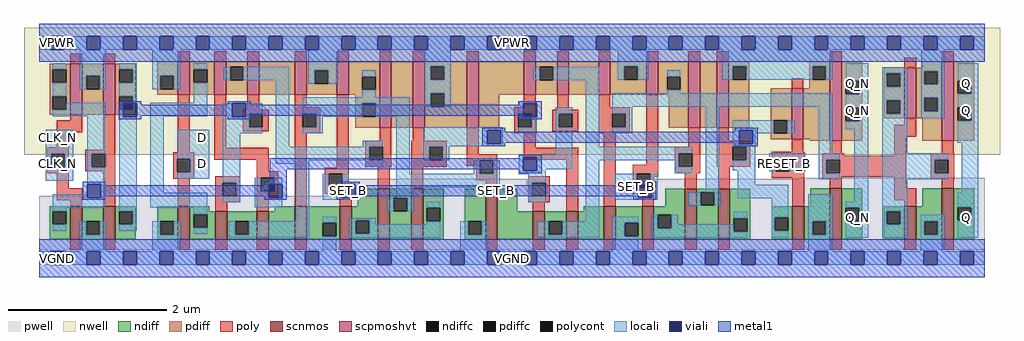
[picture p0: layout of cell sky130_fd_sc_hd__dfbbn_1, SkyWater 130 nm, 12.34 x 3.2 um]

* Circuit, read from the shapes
.subckt sky130_fd_sc_hd__dfbbn_1 CLK_N D RESET_B SET_B VGND VNB VPB VPWR Q Q_N
XM1 VGND CLK_N n1 VNB sky130_fd_pr__nfet_01v8 w=0.42 l=0.15
XM2 n2 n1 VGND VNB sky130_fd_pr__nfet_01v8 w=0.42 l=0.15
XM3 n3 D VGND VNB sky130_fd_pr__nfet_01v8 w=0.42 l=0.15
XM4 n4 n2 n3 VNB sky130_fd_pr__nfet_01v8 w=0.36 l=0.15
XM5 n5 n1 n4 VNB sky130_fd_pr__nfet_01v8 w=0.36 l=0.15
XM6 VGND n6 n5 VNB sky130_fd_pr__nfet_01v8 w=0.42 l=0.15
XM7 n7 SET_B VGND VNB sky130_fd_pr__nfet_01v8 w=0.42 l=0.15
XM8 n6 n4 n7 VNB sky130_fd_pr__nfet_01v8 w=0.64 l=0.15
XM9 n7 n8 n6 VNB sky130_fd_pr__nfet_01v8 w=0.64 l=0.15
XM10 n9 n6 VGND VNB sky130_fd_pr__nfet_01v8 w=0.64 l=0.15
XM11 n10 n1 n9 VNB sky130_fd_pr__nfet_01v8 w=0.36 l=0.15
XM12 n11 n2 n10 VNB sky130_fd_pr__nfet_01v8 w=0.36 l=0.15
XM13 VGND n12 n11 VNB sky130_fd_pr__nfet_01v8 w=0.42 l=0.15
XM14 n13 SET_B VGND VNB sky130_fd_pr__nfet_01v8 w=0.42 l=0.15
XM15 n12 n10 n13 VNB sky130_fd_pr__nfet_01v8 w=0.64 l=0.15
XM16 n13 n8 n12 VNB sky130_fd_pr__nfet_01v8 w=0.64 l=0.15
XM17 VGND RESET_B n8 VNB sky130_fd_pr__nfet_01v8 w=0.42 l=0.15
XM18 Q_N n12 VGND VNB sky130_fd_pr__nfet_01v8 w=0.65 l=0.15
XM19 VGND n12 n14 VNB sky130_fd_pr__nfet_01v8 w=0.42 l=0.15
XM20 Q n14 VGND VNB sky130_fd_pr__nfet_01v8 w=0.65 l=0.15
XM21 VPWR CLK_N n1 VPB sky130_fd_pr__pfet_01v8_hvt w=0.64 l=0.15
XM22 n2 n1 VPWR VPB sky130_fd_pr__pfet_01v8_hvt w=0.64 l=0.15
XM23 n3 D VPWR VPB sky130_fd_pr__pfet_01v8_hvt w=0.42 l=0.15
XM24 n4 n1 n3 VPB sky130_fd_pr__pfet_01v8_hvt w=0.42 l=0.15
XM25 n15 n2 n4 VPB sky130_fd_pr__pfet_01v8_hvt w=0.42 l=0.15
XM26 VPWR n6 n15 VPB sky130_fd_pr__pfet_01v8_hvt w=0.42 l=0.15
XM27 n6 SET_B VPWR VPB sky130_fd_pr__pfet_01v8_hvt w=0.42 l=0.15
XM28 n16 n4 n6 VPB sky130_fd_pr__pfet_01v8_hvt w=0.84 l=0.15
XM29 VPWR n8 n16 VPB sky130_fd_pr__pfet_01v8_hvt w=0.84 l=0.15
XM30 n17 n6 VPWR VPB sky130_fd_pr__pfet_01v8_hvt w=0.84 l=0.15
XM31 n10 n2 n17 VPB sky130_fd_pr__pfet_01v8_hvt w=0.42 l=0.15
XM32 n18 n1 n10 VPB sky130_fd_pr__pfet_01v8_hvt w=0.42 l=0.15
XM33 VPWR n12 n18 VPB sky130_fd_pr__pfet_01v8_hvt w=0.42 l=0.15
XM34 n12 SET_B VPWR VPB sky130_fd_pr__pfet_01v8_hvt w=0.42 l=0.15
XM35 n19 n10 n12 VPB sky130_fd_pr__pfet_01v8_hvt w=0.84 l=0.15
XM36 VPWR n8 n19 VPB sky130_fd_pr__pfet_01v8_hvt w=0.84 l=0.15
XM37 VPWR RESET_B n8 VPB sky130_fd_pr__pfet_01v8_hvt w=0.64 l=0.15
XM38 Q_N n12 VPWR VPB sky130_fd_pr__pfet_01v8_hvt w=1 l=0.15
XM39 VPWR n12 n14 VPB sky130_fd_pr__pfet_01v8_hvt w=0.64 l=0.15
XM40 Q n14 VPWR VPB sky130_fd_pr__pfet_01v8_hvt w=1 l=0.15
.ends

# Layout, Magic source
magic
tech sky130A
magscale 1 2
<< nwell >>
rect -38 261 2430 582
<< pwell >>
rect 1924 201 2391 203
rect 780 157 1235 201
rect 1557 157 2391 201
rect 1 21 2391 157
rect 29 -17 63 21
<< scnmos >>
rect 79 47 109 131
rect 163 47 193 131
rect 351 47 381 131
rect 446 47 476 119
rect 551 47 581 119
rect 647 47 677 131
rect 761 47 791 131
rect 857 47 887 175
rect 941 47 971 175
rect 1129 47 1159 175
rect 1249 47 1279 119
rect 1333 47 1363 119
rect 1428 47 1458 131
rect 1525 47 1555 131
rect 1633 47 1663 175
rect 1717 47 1747 175
rect 1905 47 1935 131
rect 2000 47 2030 177
rect 2188 47 2218 131
rect 2283 47 2313 177
<< scpmoshvt >>
rect 79 363 109 491
rect 163 363 193 491
rect 351 413 381 497
rect 443 413 473 497
rect 527 413 557 497
rect 647 413 677 497
rect 753 413 783 497
rect 861 329 891 497
rect 945 329 975 497
rect 1082 329 1112 497
rect 1226 413 1256 497
rect 1310 413 1340 497
rect 1415 413 1445 497
rect 1536 413 1566 497
rect 1642 329 1672 497
rect 1714 329 1744 497
rect 1903 301 1933 429
rect 2000 297 2030 497
rect 2188 353 2218 481
rect 2283 297 2313 497
<< ndiff >>
rect 27 119 79 131
rect 27 85 35 119
rect 69 85 79 119
rect 27 47 79 85
rect 109 93 163 131
rect 109 59 119 93
rect 153 59 163 93
rect 109 47 163 59
rect 193 119 245 131
rect 193 85 203 119
rect 237 85 245 119
rect 193 47 245 85
rect 299 93 351 131
rect 299 59 307 93
rect 341 59 351 93
rect 299 47 351 59
rect 381 119 431 131
rect 806 131 857 175
rect 596 119 647 131
rect 381 111 446 119
rect 381 77 391 111
rect 425 77 446 111
rect 381 47 446 77
rect 476 93 551 119
rect 476 59 496 93
rect 530 59 551 93
rect 476 47 551 59
rect 581 47 647 119
rect 677 89 761 131
rect 677 55 717 89
rect 751 55 761 89
rect 677 47 761 55
rect 791 95 857 131
rect 791 61 801 95
rect 835 61 857 95
rect 791 47 857 61
rect 887 153 941 175
rect 887 119 897 153
rect 931 119 941 153
rect 887 47 941 119
rect 971 127 1023 175
rect 971 93 981 127
rect 1015 93 1023 127
rect 971 47 1023 93
rect 1077 93 1129 175
rect 1077 59 1085 93
rect 1119 59 1129 93
rect 1077 47 1129 59
rect 1159 119 1209 175
rect 1583 131 1633 175
rect 1378 119 1428 131
rect 1159 47 1249 119
rect 1279 93 1333 119
rect 1279 59 1289 93
rect 1323 59 1333 93
rect 1279 47 1333 59
rect 1363 47 1428 119
rect 1458 89 1525 131
rect 1458 55 1481 89
rect 1515 55 1525 89
rect 1458 47 1525 55
rect 1555 109 1633 131
rect 1555 75 1565 109
rect 1599 75 1633 109
rect 1555 47 1633 75
rect 1663 167 1717 175
rect 1663 133 1673 167
rect 1707 133 1717 167
rect 1663 47 1717 133
rect 1747 101 1799 175
rect 1950 131 2000 177
rect 1747 67 1757 101
rect 1791 67 1799 101
rect 1747 47 1799 67
rect 1853 103 1905 131
rect 1853 69 1861 103
rect 1895 69 1905 103
rect 1853 47 1905 69
rect 1935 93 2000 131
rect 1935 59 1956 93
rect 1990 59 2000 93
rect 1935 47 2000 59
rect 2030 127 2082 177
rect 2233 131 2283 177
rect 2030 93 2040 127
rect 2074 93 2082 127
rect 2030 47 2082 93
rect 2136 119 2188 131
rect 2136 85 2144 119
rect 2178 85 2188 119
rect 2136 47 2188 85
rect 2218 93 2283 131
rect 2218 59 2239 93
rect 2273 59 2283 93
rect 2218 47 2283 59
rect 2313 129 2365 177
rect 2313 95 2323 129
rect 2357 95 2365 129
rect 2313 47 2365 95
<< pdiff >>
rect 27 477 79 491
rect 27 443 35 477
rect 69 443 79 477
rect 27 409 79 443
rect 27 375 35 409
rect 69 375 79 409
rect 27 363 79 375
rect 109 461 163 491
rect 109 427 119 461
rect 153 427 163 461
rect 109 363 163 427
rect 193 477 245 491
rect 193 443 203 477
rect 237 443 245 477
rect 193 409 245 443
rect 299 461 351 497
rect 299 427 307 461
rect 341 427 351 461
rect 299 413 351 427
rect 381 477 443 497
rect 381 443 391 477
rect 425 443 443 477
rect 381 413 443 443
rect 473 484 527 497
rect 473 450 483 484
rect 517 450 527 484
rect 473 413 527 450
rect 557 413 647 497
rect 677 475 753 497
rect 677 441 697 475
rect 731 441 753 475
rect 677 413 753 441
rect 783 459 861 497
rect 783 425 817 459
rect 851 425 861 459
rect 783 413 861 425
rect 193 375 203 409
rect 237 375 245 409
rect 193 363 245 375
rect 799 391 861 413
rect 799 357 817 391
rect 851 357 861 391
rect 799 329 861 357
rect 891 329 945 497
rect 975 485 1082 497
rect 975 451 991 485
rect 1025 451 1082 485
rect 975 417 1082 451
rect 975 383 991 417
rect 1025 383 1082 417
rect 975 329 1082 383
rect 1112 413 1226 497
rect 1256 484 1310 497
rect 1256 450 1266 484
rect 1300 450 1310 484
rect 1256 413 1310 450
rect 1340 413 1415 497
rect 1445 485 1536 497
rect 1445 451 1480 485
rect 1514 451 1536 485
rect 1445 413 1536 451
rect 1566 459 1642 497
rect 1566 425 1588 459
rect 1622 425 1642 459
rect 1566 413 1642 425
rect 1112 329 1164 413
rect 1592 329 1642 413
rect 1672 329 1714 497
rect 1744 485 1796 497
rect 1744 451 1754 485
rect 1788 451 1796 485
rect 1948 485 2000 497
rect 1744 329 1796 451
rect 1948 451 1956 485
rect 1990 451 2000 485
rect 1948 429 2000 451
rect 1850 349 1903 429
rect 1850 315 1858 349
rect 1892 315 1903 349
rect 1850 301 1903 315
rect 1933 301 2000 429
rect 1950 297 2000 301
rect 2030 448 2082 497
rect 2233 481 2283 497
rect 2030 414 2040 448
rect 2074 414 2082 448
rect 2030 380 2082 414
rect 2030 346 2040 380
rect 2074 346 2082 380
rect 2136 467 2188 481
rect 2136 433 2144 467
rect 2178 433 2188 467
rect 2136 399 2188 433
rect 2136 365 2144 399
rect 2178 365 2188 399
rect 2136 353 2188 365
rect 2218 473 2283 481
rect 2218 439 2239 473
rect 2273 439 2283 473
rect 2218 405 2283 439
rect 2218 371 2239 405
rect 2273 371 2283 405
rect 2218 353 2283 371
rect 2030 297 2082 346
rect 2233 297 2283 353
rect 2313 449 2365 497
rect 2313 415 2323 449
rect 2357 415 2365 449
rect 2313 381 2365 415
rect 2313 347 2323 381
rect 2357 347 2365 381
rect 2313 297 2365 347
<< ndiffc >>
rect 35 85 69 119
rect 119 59 153 93
rect 203 85 237 119
rect 307 59 341 93
rect 391 77 425 111
rect 496 59 530 93
rect 717 55 751 89
rect 801 61 835 95
rect 897 119 931 153
rect 981 93 1015 127
rect 1085 59 1119 93
rect 1289 59 1323 93
rect 1481 55 1515 89
rect 1565 75 1599 109
rect 1673 133 1707 167
rect 1757 67 1791 101
rect 1861 69 1895 103
rect 1956 59 1990 93
rect 2040 93 2074 127
rect 2144 85 2178 119
rect 2239 59 2273 93
rect 2323 95 2357 129
<< pdiffc >>
rect 35 443 69 477
rect 35 375 69 409
rect 119 427 153 461
rect 203 443 237 477
rect 307 427 341 461
rect 391 443 425 477
rect 483 450 517 484
rect 697 441 731 475
rect 817 425 851 459
rect 203 375 237 409
rect 817 357 851 391
rect 991 451 1025 485
rect 991 383 1025 417
rect 1266 450 1300 484
rect 1480 451 1514 485
rect 1588 425 1622 459
rect 1754 451 1788 485
rect 1956 451 1990 485
rect 1858 315 1892 349
rect 2040 414 2074 448
rect 2040 346 2074 380
rect 2144 433 2178 467
rect 2144 365 2178 399
rect 2239 439 2273 473
rect 2239 371 2273 405
rect 2323 415 2357 449
rect 2323 347 2357 381
<< poly >>
rect 79 491 109 517
rect 163 491 193 517
rect 351 497 381 523
rect 443 497 473 523
rect 527 497 557 523
rect 647 497 677 523
rect 753 497 783 523
rect 861 497 891 523
rect 945 497 975 523
rect 1082 497 1112 523
rect 1226 497 1256 523
rect 1310 497 1340 523
rect 1415 497 1445 523
rect 1536 497 1566 523
rect 1642 497 1672 523
rect 1714 497 1744 523
rect 2000 497 2030 523
rect 79 348 109 363
rect 45 318 109 348
rect 45 280 75 318
rect 21 264 75 280
rect 163 274 193 363
rect 21 230 31 264
rect 65 230 75 264
rect 21 214 75 230
rect 117 264 193 274
rect 351 267 381 413
rect 443 279 473 413
rect 527 375 557 413
rect 647 381 677 413
rect 515 365 581 375
rect 515 331 531 365
rect 565 331 581 365
rect 515 321 581 331
rect 647 365 711 381
rect 647 331 667 365
rect 701 331 711 365
rect 647 315 711 331
rect 117 230 133 264
rect 167 230 193 264
rect 117 220 193 230
rect 45 176 75 214
rect 45 146 109 176
rect 79 131 109 146
rect 163 131 193 220
rect 339 251 393 267
rect 339 217 349 251
rect 383 217 393 251
rect 443 249 581 279
rect 339 201 393 217
rect 551 219 581 249
rect 351 131 381 201
rect 446 191 509 207
rect 446 157 465 191
rect 499 157 509 191
rect 446 141 509 157
rect 551 203 605 219
rect 551 169 561 203
rect 595 169 605 203
rect 551 153 605 169
rect 446 119 476 141
rect 551 119 581 153
rect 647 131 677 315
rect 753 229 783 413
rect 1226 381 1256 413
rect 1202 365 1256 381
rect 1310 375 1340 413
rect 1415 381 1445 413
rect 1202 331 1212 365
rect 1246 331 1256 365
rect 861 297 891 329
rect 945 297 975 329
rect 825 281 891 297
rect 825 247 835 281
rect 869 247 891 281
rect 825 231 891 247
rect 941 281 1031 297
rect 941 247 987 281
rect 1021 247 1031 281
rect 941 231 1031 247
rect 1082 263 1112 329
rect 1202 315 1256 331
rect 1298 365 1364 375
rect 1298 331 1314 365
rect 1348 331 1364 365
rect 1298 321 1364 331
rect 1415 365 1494 381
rect 1415 331 1450 365
rect 1484 331 1494 365
rect 1415 315 1494 331
rect 1226 279 1256 315
rect 1082 247 1159 263
rect 1226 249 1363 279
rect 1082 233 1115 247
rect 723 213 783 229
rect 723 179 733 213
rect 767 193 783 213
rect 767 179 791 193
rect 723 163 791 179
rect 857 175 887 231
rect 941 175 971 231
rect 1105 213 1115 233
rect 1149 213 1159 247
rect 1105 197 1159 213
rect 1129 175 1159 197
rect 1237 191 1291 207
rect 761 131 791 163
rect 1237 157 1247 191
rect 1281 157 1291 191
rect 1237 141 1291 157
rect 1249 119 1279 141
rect 1333 119 1363 249
rect 1428 131 1458 315
rect 1536 236 1566 413
rect 1903 429 1933 455
rect 1642 281 1672 329
rect 1501 213 1566 236
rect 1608 265 1672 281
rect 1608 231 1618 265
rect 1652 231 1672 265
rect 1714 297 1744 329
rect 1714 281 1798 297
rect 1714 247 1754 281
rect 1788 247 1798 281
rect 1903 269 1933 301
rect 2188 481 2218 507
rect 2283 497 2313 523
rect 2188 337 2218 353
rect 2163 307 2218 337
rect 1714 231 1798 247
rect 1853 253 1935 269
rect 2000 265 2030 297
rect 1608 215 1672 231
rect 1501 179 1511 213
rect 1545 206 1566 213
rect 1545 179 1555 206
rect 1501 163 1555 179
rect 1633 175 1663 215
rect 1717 175 1747 231
rect 1853 219 1863 253
rect 1897 219 1935 253
rect 1853 203 1935 219
rect 1525 131 1555 163
rect 1905 131 1935 203
rect 1981 259 2035 265
rect 2163 259 2193 307
rect 2283 265 2313 297
rect 1981 249 2193 259
rect 1981 215 1991 249
rect 2025 215 2193 249
rect 1981 205 2193 215
rect 1981 199 2030 205
rect 2000 177 2030 199
rect 2163 176 2193 205
rect 2255 249 2314 265
rect 2255 215 2265 249
rect 2299 215 2314 249
rect 2255 199 2314 215
rect 2283 177 2313 199
rect 2163 146 2218 176
rect 2188 131 2218 146
rect 79 21 109 47
rect 163 21 193 47
rect 351 21 381 47
rect 446 21 476 47
rect 551 21 581 47
rect 647 21 677 47
rect 761 21 791 47
rect 857 21 887 47
rect 941 21 971 47
rect 1129 21 1159 47
rect 1249 21 1279 47
rect 1333 21 1363 47
rect 1428 21 1458 47
rect 1525 21 1555 47
rect 1633 21 1663 47
rect 1717 21 1747 47
rect 1905 21 1935 47
rect 2000 21 2030 47
rect 2188 21 2218 47
rect 2283 21 2313 47
<< polycont >>
rect 31 230 65 264
rect 531 331 565 365
rect 667 331 701 365
rect 133 230 167 264
rect 349 217 383 251
rect 465 157 499 191
rect 561 169 595 203
rect 1212 331 1246 365
rect 835 247 869 281
rect 987 247 1021 281
rect 1314 331 1348 365
rect 1450 331 1484 365
rect 733 179 767 213
rect 1115 213 1149 247
rect 1247 157 1281 191
rect 1618 231 1652 265
rect 1754 247 1788 281
rect 1511 179 1545 213
rect 1863 219 1897 253
rect 1991 215 2025 249
rect 2265 215 2299 249
<< locali >>
rect 0 527 29 561
rect 63 527 121 561
rect 155 527 213 561
rect 247 527 305 561
rect 339 527 397 561
rect 431 527 489 561
rect 523 527 581 561
rect 615 527 673 561
rect 707 527 765 561
rect 799 527 857 561
rect 891 527 949 561
rect 983 527 1041 561
rect 1075 527 1133 561
rect 1167 527 1225 561
rect 1259 527 1317 561
rect 1351 527 1409 561
rect 1443 527 1501 561
rect 1535 527 1593 561
rect 1627 527 1685 561
rect 1719 527 1777 561
rect 1811 527 1869 561
rect 1903 527 1961 561
rect 1995 527 2053 561
rect 2087 527 2145 561
rect 2179 527 2237 561
rect 2271 527 2329 561
rect 2363 527 2392 561
rect 35 477 69 493
rect 35 409 69 443
rect 103 461 169 527
rect 103 427 119 461
rect 153 427 169 461
rect 203 477 247 493
rect 237 443 247 477
rect 203 409 247 443
rect 286 461 357 527
rect 286 427 307 461
rect 341 427 357 461
rect 391 477 425 493
rect 467 450 483 484
rect 517 450 633 484
rect 69 375 168 393
rect 35 359 168 375
rect 17 264 87 325
rect 17 230 31 264
rect 65 230 87 264
rect 17 195 87 230
rect 122 264 168 359
rect 122 230 133 264
rect 167 230 168 264
rect 122 187 168 230
rect 35 153 122 161
rect 156 153 168 187
rect 35 127 168 153
rect 237 391 247 409
rect 391 393 425 443
rect 203 357 213 375
rect 35 119 69 127
rect 203 119 247 357
rect 281 359 425 393
rect 281 165 315 359
rect 465 357 489 391
rect 523 365 565 391
rect 523 357 531 365
rect 465 331 531 357
rect 349 251 431 325
rect 383 217 431 251
rect 349 201 431 217
rect 465 315 565 331
rect 465 191 509 315
rect 599 281 633 450
rect 681 475 757 527
rect 975 485 1041 527
rect 681 441 697 475
rect 731 441 757 475
rect 817 459 851 475
rect 817 407 851 425
rect 975 451 991 485
rect 1025 451 1041 485
rect 1464 485 1540 527
rect 975 417 1041 451
rect 1250 450 1266 484
rect 1300 450 1416 484
rect 1464 451 1480 485
rect 1514 451 1540 485
rect 1728 485 2006 527
rect 1588 459 1622 475
rect 667 391 937 407
rect 667 365 817 391
rect 701 357 817 365
rect 851 357 937 391
rect 975 383 991 417
rect 1025 383 1041 417
rect 1212 391 1259 397
rect 701 331 717 357
rect 667 315 717 331
rect 819 281 869 297
rect 599 247 835 281
rect 599 239 683 247
rect 281 127 425 165
rect 499 157 509 191
rect 465 141 509 157
rect 545 169 561 203
rect 595 187 615 203
rect 545 153 581 169
rect 545 129 615 153
rect 35 69 69 85
rect 103 59 119 93
rect 153 59 169 93
rect 237 85 247 119
rect 391 111 425 127
rect 203 69 247 85
rect 103 17 169 59
rect 286 59 307 93
rect 341 59 357 93
rect 649 93 683 239
rect 825 231 869 247
rect 903 213 937 357
rect 1212 365 1225 391
rect 1246 331 1259 357
rect 971 323 1172 331
rect 971 289 1133 323
rect 1167 289 1172 323
rect 1212 315 1259 331
rect 1307 365 1348 381
rect 1307 331 1314 365
rect 971 283 1172 289
rect 971 281 1037 283
rect 971 247 987 281
rect 1021 247 1037 281
rect 1307 261 1348 331
rect 1213 255 1348 261
rect 1099 213 1115 247
rect 1149 213 1165 247
rect 717 179 733 213
rect 767 193 783 213
rect 767 187 799 193
rect 717 153 765 179
rect 903 179 1165 213
rect 1213 221 1225 255
rect 1259 225 1348 255
rect 1382 281 1416 450
rect 1728 451 1754 485
rect 1788 451 1956 485
rect 1990 451 2006 485
rect 1588 417 1622 425
rect 2040 448 2097 493
rect 1450 383 2006 417
rect 1450 365 1500 383
rect 1484 331 1500 365
rect 1450 315 1500 331
rect 1382 265 1652 281
rect 1382 247 1618 265
rect 1259 221 1281 225
rect 1213 212 1281 221
rect 1237 191 1281 212
rect 903 153 947 179
rect 717 147 799 153
rect 881 119 897 153
rect 931 119 947 153
rect 1237 157 1247 191
rect 981 127 1015 143
rect 1237 141 1281 157
rect 391 61 425 77
rect 286 17 357 59
rect 480 59 496 93
rect 530 59 683 93
rect 480 53 683 59
rect 717 89 751 105
rect 717 17 751 55
rect 785 95 851 101
rect 785 61 801 95
rect 835 85 851 95
rect 1382 93 1416 247
rect 1608 231 1618 247
rect 1608 215 1652 231
rect 1456 179 1511 213
rect 1545 187 1565 213
rect 1456 153 1515 179
rect 1549 153 1565 187
rect 1686 168 1720 383
rect 1754 323 1858 349
rect 1754 289 1771 323
rect 1805 315 1858 323
rect 1892 315 1911 349
rect 1805 289 1811 315
rect 1754 281 1811 289
rect 1788 247 1811 281
rect 1972 265 2006 383
rect 2074 414 2097 448
rect 2040 380 2097 414
rect 2074 346 2097 380
rect 2040 326 2097 346
rect 1754 222 1811 247
rect 1767 185 1811 222
rect 1847 253 1938 265
rect 1847 219 1863 253
rect 1897 219 1938 253
rect 1972 249 2025 265
rect 1972 215 1991 249
rect 1972 199 2025 215
rect 1686 167 1723 168
rect 1456 147 1565 153
rect 1643 133 1673 167
rect 1707 133 1723 167
rect 1767 151 1895 185
rect 981 85 1015 93
rect 835 61 1015 85
rect 785 51 1015 61
rect 1065 59 1085 93
rect 1119 59 1135 93
rect 1065 17 1135 59
rect 1260 59 1289 93
rect 1323 59 1416 93
rect 1260 53 1416 59
rect 1450 89 1515 105
rect 1450 55 1481 89
rect 1450 17 1515 55
rect 1549 75 1565 109
rect 1599 85 1615 109
rect 1757 101 1791 117
rect 1599 75 1757 85
rect 1549 67 1757 75
rect 1549 51 1791 67
rect 1853 103 1895 151
rect 1853 69 1861 103
rect 1853 53 1895 69
rect 1945 93 2006 161
rect 2061 143 2097 326
rect 1945 59 1956 93
rect 1990 59 2006 93
rect 1945 17 2006 59
rect 2040 127 2097 143
rect 2074 93 2097 127
rect 2040 51 2097 93
rect 2132 467 2195 483
rect 2132 433 2144 467
rect 2178 433 2195 467
rect 2132 399 2195 433
rect 2132 365 2144 399
rect 2178 365 2195 399
rect 2132 265 2195 365
rect 2231 473 2289 527
rect 2231 439 2239 473
rect 2273 439 2289 473
rect 2231 405 2289 439
rect 2231 371 2239 405
rect 2273 371 2289 405
rect 2231 353 2289 371
rect 2323 449 2375 493
rect 2357 415 2375 449
rect 2323 381 2375 415
rect 2357 347 2375 381
rect 2323 291 2375 347
rect 2132 249 2299 265
rect 2132 215 2265 249
rect 2132 199 2299 215
rect 2132 119 2195 199
rect 2333 165 2375 291
rect 2132 85 2144 119
rect 2178 85 2195 119
rect 2323 129 2375 165
rect 2132 51 2195 85
rect 2230 93 2289 109
rect 2230 59 2239 93
rect 2273 59 2289 93
rect 2230 17 2289 59
rect 2357 95 2375 129
rect 2323 51 2375 95
rect 0 -17 29 17
rect 63 -17 121 17
rect 155 -17 213 17
rect 247 -17 305 17
rect 339 -17 397 17
rect 431 -17 489 17
rect 523 -17 581 17
rect 615 -17 673 17
rect 707 -17 765 17
rect 799 -17 857 17
rect 891 -17 949 17
rect 983 -17 1041 17
rect 1075 -17 1133 17
rect 1167 -17 1225 17
rect 1259 -17 1317 17
rect 1351 -17 1409 17
rect 1443 -17 1501 17
rect 1535 -17 1593 17
rect 1627 -17 1685 17
rect 1719 -17 1777 17
rect 1811 -17 1869 17
rect 1903 -17 1961 17
rect 1995 -17 2053 17
rect 2087 -17 2145 17
rect 2179 -17 2237 17
rect 2271 -17 2329 17
rect 2363 -17 2392 17
<< viali >>
rect 29 527 63 561
rect 121 527 155 561
rect 213 527 247 561
rect 305 527 339 561
rect 397 527 431 561
rect 489 527 523 561
rect 581 527 615 561
rect 673 527 707 561
rect 765 527 799 561
rect 857 527 891 561
rect 949 527 983 561
rect 1041 527 1075 561
rect 1133 527 1167 561
rect 1225 527 1259 561
rect 1317 527 1351 561
rect 1409 527 1443 561
rect 1501 527 1535 561
rect 1593 527 1627 561
rect 1685 527 1719 561
rect 1777 527 1811 561
rect 1869 527 1903 561
rect 1961 527 1995 561
rect 2053 527 2087 561
rect 2145 527 2179 561
rect 2237 527 2271 561
rect 2329 527 2363 561
rect 122 153 156 187
rect 213 375 237 391
rect 237 375 247 391
rect 213 357 247 375
rect 489 357 523 391
rect 581 169 595 187
rect 595 169 615 187
rect 581 153 615 169
rect 1225 365 1259 391
rect 1225 357 1246 365
rect 1246 357 1259 365
rect 1133 289 1167 323
rect 765 179 767 187
rect 767 179 799 187
rect 765 153 799 179
rect 1225 221 1259 255
rect 1515 179 1545 187
rect 1545 179 1549 187
rect 1515 153 1549 179
rect 1771 289 1805 323
rect 29 -17 63 17
rect 121 -17 155 17
rect 213 -17 247 17
rect 305 -17 339 17
rect 397 -17 431 17
rect 489 -17 523 17
rect 581 -17 615 17
rect 673 -17 707 17
rect 765 -17 799 17
rect 857 -17 891 17
rect 949 -17 983 17
rect 1041 -17 1075 17
rect 1133 -17 1167 17
rect 1225 -17 1259 17
rect 1317 -17 1351 17
rect 1409 -17 1443 17
rect 1501 -17 1535 17
rect 1593 -17 1627 17
rect 1685 -17 1719 17
rect 1777 -17 1811 17
rect 1869 -17 1903 17
rect 1961 -17 1995 17
rect 2053 -17 2087 17
rect 2145 -17 2179 17
rect 2237 -17 2271 17
rect 2329 -17 2363 17
<< metal1 >>
rect 0 561 2392 592
rect 0 527 29 561
rect 63 527 121 561
rect 155 527 213 561
rect 247 527 305 561
rect 339 527 397 561
rect 431 527 489 561
rect 523 527 581 561
rect 615 527 673 561
rect 707 527 765 561
rect 799 527 857 561
rect 891 527 949 561
rect 983 527 1041 561
rect 1075 527 1133 561
rect 1167 527 1225 561
rect 1259 527 1317 561
rect 1351 527 1409 561
rect 1443 527 1501 561
rect 1535 527 1593 561
rect 1627 527 1685 561
rect 1719 527 1777 561
rect 1811 527 1869 561
rect 1903 527 1961 561
rect 1995 527 2053 561
rect 2087 527 2145 561
rect 2179 527 2237 561
rect 2271 527 2329 561
rect 2363 527 2392 561
rect 0 496 2392 527
rect 201 391 259 397
rect 201 357 213 391
rect 247 388 259 391
rect 477 391 535 397
rect 477 388 489 391
rect 247 360 489 388
rect 247 357 259 360
rect 201 351 259 357
rect 477 357 489 360
rect 523 388 535 391
rect 1213 391 1271 397
rect 1213 388 1225 391
rect 523 360 1225 388
rect 523 357 535 360
rect 477 351 535 357
rect 1213 357 1225 360
rect 1259 357 1271 391
rect 1213 351 1271 357
rect 1121 323 1179 329
rect 1121 289 1133 323
rect 1167 320 1179 323
rect 1759 323 1817 329
rect 1759 320 1771 323
rect 1167 292 1771 320
rect 1167 289 1179 292
rect 1121 283 1179 289
rect 1759 289 1771 292
rect 1805 289 1817 323
rect 1759 283 1817 289
rect 1213 255 1271 261
rect 1213 252 1225 255
rect 584 224 1225 252
rect 584 193 627 224
rect 1213 221 1225 224
rect 1259 221 1271 255
rect 1213 215 1271 221
rect 110 187 168 193
rect 110 153 122 187
rect 156 184 168 187
rect 569 187 627 193
rect 569 184 581 187
rect 156 156 581 184
rect 156 153 168 156
rect 110 147 168 153
rect 569 153 581 156
rect 615 153 627 187
rect 569 147 627 153
rect 753 187 811 193
rect 753 153 765 187
rect 799 184 811 187
rect 1503 187 1561 193
rect 1503 184 1515 187
rect 799 156 1515 184
rect 799 153 811 156
rect 753 147 811 153
rect 1503 153 1515 156
rect 1549 153 1561 187
rect 1503 147 1561 153
rect 0 17 2392 48
rect 0 -17 29 17
rect 63 -17 121 17
rect 155 -17 213 17
rect 247 -17 305 17
rect 339 -17 397 17
rect 431 -17 489 17
rect 523 -17 581 17
rect 615 -17 673 17
rect 707 -17 765 17
rect 799 -17 857 17
rect 891 -17 949 17
rect 983 -17 1041 17
rect 1075 -17 1133 17
rect 1167 -17 1225 17
rect 1259 -17 1317 17
rect 1351 -17 1409 17
rect 1443 -17 1501 17
rect 1535 -17 1593 17
rect 1627 -17 1685 17
rect 1719 -17 1777 17
rect 1811 -17 1869 17
rect 1903 -17 1961 17
rect 1995 -17 2053 17
rect 2087 -17 2145 17
rect 2179 -17 2237 17
rect 2271 -17 2329 17
rect 2363 -17 2392 17
rect 0 -48 2392 -17
<< labels >>
flabel locali s 1869 221 1903 255 0 FreeSans 400 0 0 0 RESET_B
port 3 nsew signal input
flabel locali s 29 -17 63 17 3 FreeSans 400 0 0 0 VGND
port 5 nsew ground bidirectional abutment
flabel locali s 29 221 63 255 0 FreeSans 400 0 0 0 CLK_N
port 1 nsew clock input
flabel locali s 29 289 63 323 0 FreeSans 400 0 0 0 CLK_N
port 1 nsew clock input
flabel locali s 765 153 799 187 0 FreeSans 400 0 0 0 SET_B
port 4 nsew signal input
flabel locali s 2329 85 2363 119 0 FreeSans 400 0 0 0 Q
port 9 nsew signal output
flabel locali s 2329 357 2363 391 0 FreeSans 400 0 0 0 Q
port 9 nsew signal output
flabel locali s 2329 425 2363 459 0 FreeSans 400 0 0 0 Q
port 9 nsew signal output
flabel locali s 29 527 63 561 3 FreeSans 400 0 0 0 VPWR
port 8 nsew power bidirectional abutment
flabel locali s 397 221 431 255 0 FreeSans 200 0 0 0 D
port 2 nsew signal input
flabel locali s 397 289 431 323 0 FreeSans 200 0 0 0 D
port 2 nsew signal input
flabel locali s 2053 425 2087 459 0 FreeSans 400 0 0 0 Q_N
port 10 nsew signal output
flabel locali s 2053 357 2087 391 0 FreeSans 400 0 0 0 Q_N
port 10 nsew signal output
flabel locali s 2053 85 2087 119 0 FreeSans 400 0 0 0 Q_N
port 10 nsew signal output
flabel metal1 s 29 -17 63 17 0 FreeSans 200 0 0 0 VGND
port 5 nsew ground bidirectional abutment
flabel metal1 s 29 527 63 561 0 FreeSans 200 0 0 0 VPWR
port 8 nsew power bidirectional abutment
flabel nwell s 29 527 63 561 3 FreeSans 400 0 0 0 VPB
port 7 nsew power bidirectional
flabel nwell s 46 544 46 544 0 FreeSans 200 0 0 0 VPB
flabel pwell s 29 -17 63 17 3 FreeSans 400 0 0 0 VNB
port 6 nsew ground bidirectional
flabel pwell s 46 0 46 0 0 FreeSans 200 0 0 0 VNB
rlabel comment s 0 0 0 0 4 dfbbn_1
rlabel locali s 1456 147 1565 213 1 SET_B
port 4 nsew signal input
rlabel metal1 s 1503 184 1561 193 1 SET_B
port 4 nsew signal input
rlabel metal1 s 1503 147 1561 156 1 SET_B
port 4 nsew signal input
rlabel metal1 s 753 184 811 193 1 SET_B
port 4 nsew signal input
rlabel metal1 s 753 156 1561 184 1 SET_B
port 4 nsew signal input
rlabel metal1 s 753 147 811 156 1 SET_B
port 4 nsew signal input
rlabel metal1 s 0 -48 2392 48 1 VGND
port 5 nsew ground bidirectional abutment
rlabel metal1 s 0 496 2392 592 1 VPWR
port 8 nsew power bidirectional abutment
<< properties >>
string FIXED_BBOX 0 0 2392 544
string GDS_END 3314850
string GDS_FILE $PDKPATH/libs.ref/sky130_fd_sc_hd/gds/sky130_fd_sc_hd.gds
string GDS_START 3295300
string LEFclass CORE
string LEFsite unithd
string LEFsymmetry X Y R90
<< end >>
